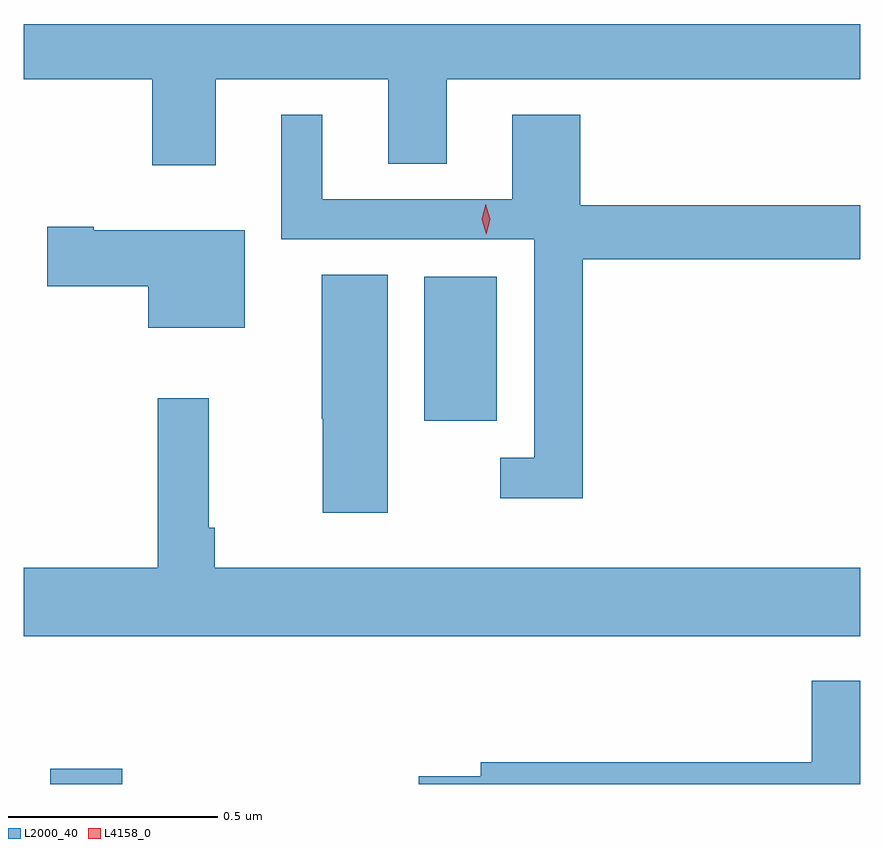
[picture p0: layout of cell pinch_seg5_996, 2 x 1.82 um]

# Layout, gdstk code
import gdstk
lib = gdstk.Library(unit=1e-6, precision=1e-09)
def R(c, l, rs):  # rectangles x0, y0, x1, y1
    for r in rs: c.add(gdstk.rectangle(r[:2], r[2:], *l))
def P(c, l, *ps):  # polygons
    for p in ps: c.add(gdstk.Polygon(p, *l))
L2000_40 = (2000, 40)
L4158_0 = (4158, 0)

pinch_seg5_996 = lib.new_cell('pinch_seg5_996')
R(pinch_seg5_996, L2000_40, [(744.098,913.683,744.269,913.72), (744.992,914.552,745.165,914.896)])
P(pinch_seg5_996, L2000_40, [(744.493,915.368),(744.905,915.368),(744.905,915.166),(745.045,915.166),(745.045,915.368),(746.034,915.368),(746.034,915.5),(744.034,915.5),(744.034,915.368),(744.341,915.368),(744.341,915.162),(744.493,915.162)],
  [(745.37,914.938),(746.034,914.938),(746.034,915.067),(745.364,915.067),(745.364,915.283),(745.202,915.283),(745.202,915.081),(744.748,915.081),(744.748,915.283),(744.65,915.283),(744.65,914.985),(745.254,914.985),(745.254,914.463),(745.173,914.463),(745.173,914.366),(745.37,914.366)],
  [(744.562,915.007),(744.202,915.007),(744.202,915.015),(744.09,915.015),(744.09,914.873),(744.332,914.873),(744.332,914.774),(744.562,914.774)],
  [(744.904,914.9),(744.746,914.9),(744.746,914.556),(744.749,914.556),(744.749,914.331),(744.904,914.331)],
  [(746.034,914.2),(744.491,914.2),(744.491,914.296),(744.476,914.296),(744.476,914.605),(744.355,914.605),(744.355,914.2),(744.034,914.2),(744.034,914.036),(746.034,914.036)],
  [(746.034,913.93),(745.918,913.93),(745.918,913.735),(745.127,913.735),(745.127,913.701),(744.978,913.701),(744.978,913.683),(746.034,913.683)])
P(pinch_seg5_996, L4158_0, [(745.14,914.997),(745.14,914.997),(745.129,915.033),(745.138,915.069),(745.138,915.069),(745.138,915.069),(745.149,915.033),(745.14,914.997)])

lib.write_gds('pinch_seg5_996.gds')
